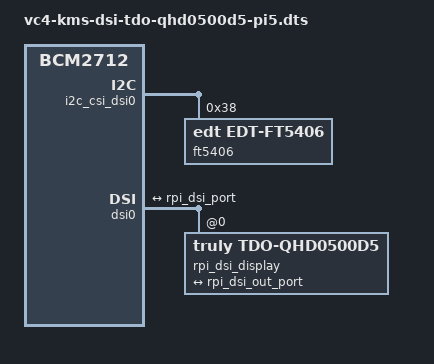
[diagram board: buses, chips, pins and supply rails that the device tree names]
/dts-v1/;
/plugin/;
/ {
	compatible = "raspberrypi,5-model-b","brcm,bcm2712";
	fragment@0 {
		target = <&i2c_csi_dsi0>;
		__overlay__ {
			#address-cells = <1>;
			#size-cells = <0>;
			status = "okay";
			
			ft5406@38 {
				compatible = "edt,edt-ft5406";
				reg = <0x38>;
				status = "okay";
				touchscreen-size-x = <540>;
				touchscreen-size-y = <960>;
			};
		};
	};
	
	fragment@1 {
		target = <&dsi0>;
		__overlay__{
			status = "okay";
			#address-cells = <1>;
			#size-cells = <0>;
			port {
				rpi_dsi_out_port:endpoint {
					remote-endpoint = <&rpi_dsi_port>;
				};
			};
			
			rpi_dsi_display:rpi-dsi-display@0 {
				compatible    = "truly,tdo-qhd0500d5";
				status        = "okay";
				reg           = <0>;
				rotation = <0>;
				port {
					rpi_dsi_port: endpoint {
						remote-endpoint = <&rpi_dsi_out_port>;
					};
				};
			};
		};
	};
};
